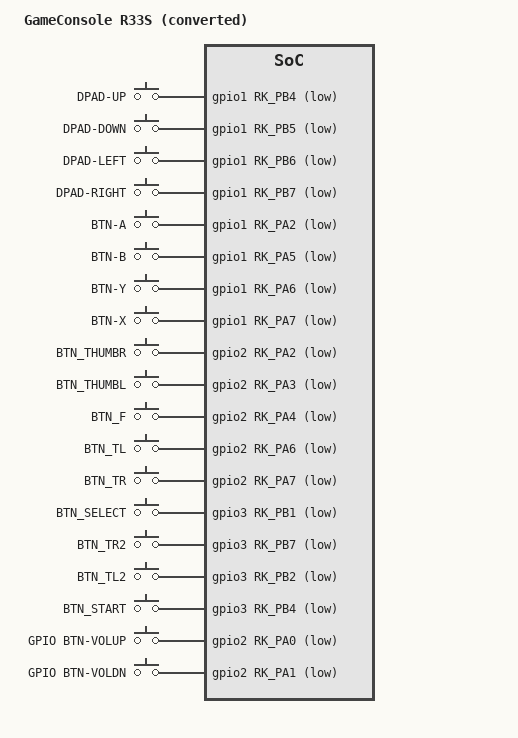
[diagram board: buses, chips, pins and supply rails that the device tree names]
// SPDX-License-Identifier: (GPL-2.0+ OR MIT)
/*
 * GameConsole R33S, converted from a vendor RK3326 device tree by
 * `r36os dtb import` (boot-dtb-select D12). Do not edit: import again.
 * Source: arkos4clone/boot/dArkOS/consoles/r33s/rk3326-r33s-linux.dtb
 * SHA-256: c3ffd29be9d15f1024e4e77b30fe5cf872afc0630c18030adca775674bd356f1
 * Note: speaker gain: source spk-volume 3 ignored, the native safe value is used
 */

#include "rk3326-r36s-v5.dts"

/ {
	model = "GameConsole R33S (converted)";

	lume-select {
		lume,id = "arkos4clone-r33s";
		lume,priority = <0>;
		/delete-property/ lume,default;
		/delete-property/ lume,panel-id;
	};

	/delete-node/ gpio-keys;
	/delete-node/ volume-keys;

	gpio-keys {
		compatible = "gpio-keys";
		pinctrl-names = "default";
		pinctrl-0 = <&btn_pins>;

		button-dpad-up {
			gpios = <&gpio1 RK_PB4 GPIO_ACTIVE_LOW>;
			label = "DPAD-UP";
			linux,code = <0x220>;
		};

		button-dpad-down {
			gpios = <&gpio1 RK_PB5 GPIO_ACTIVE_LOW>;
			label = "DPAD-DOWN";
			linux,code = <0x221>;
		};

		button-dpad-left {
			gpios = <&gpio1 RK_PB6 GPIO_ACTIVE_LOW>;
			label = "DPAD-LEFT";
			linux,code = <0x222>;
		};

		button-dpad-right {
			gpios = <&gpio1 RK_PB7 GPIO_ACTIVE_LOW>;
			label = "DPAD-RIGHT";
			linux,code = <0x223>;
		};

		button-btn-a {
			gpios = <&gpio1 RK_PA2 GPIO_ACTIVE_LOW>;
			label = "BTN-A";
			linux,code = <0x131>;
		};

		button-btn-b {
			gpios = <&gpio1 RK_PA5 GPIO_ACTIVE_LOW>;
			label = "BTN-B";
			linux,code = <0x130>;
		};

		button-btn-y {
			gpios = <&gpio1 RK_PA6 GPIO_ACTIVE_LOW>;
			label = "BTN-Y";
			linux,code = <0x134>;
		};

		button-btn-x {
			gpios = <&gpio1 RK_PA7 GPIO_ACTIVE_LOW>;
			label = "BTN-X";
			linux,code = <0x133>;
		};

		button-btn-thumbr {
			gpios = <&gpio2 RK_PA2 GPIO_ACTIVE_LOW>;
			label = "BTN_THUMBR";
			linux,code = <0x2c2>;
		};

		button-btn-thumbl {
			gpios = <&gpio2 RK_PA3 GPIO_ACTIVE_LOW>;
			label = "BTN_THUMBL";
			linux,code = <0x2c3>;
		};

		button-btn-f {
			gpios = <&gpio2 RK_PA4 GPIO_ACTIVE_LOW>;
			label = "BTN_F";
			linux,code = <0x2c4>;
		};

		button-btn-tl {
			gpios = <&gpio2 RK_PA6 GPIO_ACTIVE_LOW>;
			label = "BTN_TL";
			linux,code = <0x136>;
		};

		button-btn-tr {
			gpios = <&gpio2 RK_PA7 GPIO_ACTIVE_LOW>;
			label = "BTN_TR";
			linux,code = <0x137>;
		};

		button-btn-select {
			gpios = <&gpio3 RK_PB1 GPIO_ACTIVE_LOW>;
			label = "BTN_SELECT";
			linux,code = <0x2c0>;
		};

		button-btn-tr2 {
			gpios = <&gpio3 RK_PB7 GPIO_ACTIVE_LOW>;
			label = "BTN_TR2";
			linux,code = <0x139>;
		};

		button-btn-tl2 {
			gpios = <&gpio3 RK_PB2 GPIO_ACTIVE_LOW>;
			label = "BTN_TL2";
			linux,code = <0x138>;
		};

		button-btn-start {
			gpios = <&gpio3 RK_PB4 GPIO_ACTIVE_LOW>;
			label = "BTN_START";
			linux,code = <0x2c1>;
		};
	};

	volume-keys {
		compatible = "gpio-keys";
		pinctrl-names = "default";
		pinctrl-0 = <&vol_pins>;
		autorepeat;

		button-gpio-btn-volup {
			gpios = <&gpio2 RK_PA0 GPIO_ACTIVE_LOW>;
			label = "GPIO BTN-VOLUP";
			linux,code = <0x73>;
		};

		button-gpio-btn-voldn {
			gpios = <&gpio2 RK_PA1 GPIO_ACTIVE_LOW>;
			label = "GPIO BTN-VOLDN";
			linux,code = <0x72>;
		};
	};

	/delete-node/ adc-joystick;
	/delete-node/ adc-mux;
	/delete-node/ mux-controller;

	/delete-node/ gpio-leds;

	rk817-sound {
		simple-audio-card,hp-det-gpios = <&gpio2 RK_PC6 GPIO_ACTIVE_LOW>;
	};
};

&internal_display {
	compatible = "rocknix,generic-dsi";
	/delete-property/ vcc-supply;
	vdd-supply = <&vcc_lcd>;
	reset-gpios = <&gpio3 RK_PC0 GPIO_ACTIVE_LOW>;
	panel_description =
		"G size=52,70 delays=2,1,20,120,20 format=rgb888 lanes=4 flags=0xe03",
		"M clock=50000 horizontal=640,450,46,450 vertical=480,17,5,13 default=1",
		"I seq=b9f11283",
		"I seq=b1000000da80",
		"I seq=b2001370",
		"I seq=b31010282803ff00000000",
		"I seq=b480",
		"I seq=b50a0a",
		"I seq=b67f7f",
		"I seq=b82662f063",
		"I seq=ba338105f90e0e2000000000000000442500900a0000014f01000037",
		"I seq=bc47",
		"I seq=bf021100",
		"I seq=c0737350500000125000",
		"I seq=c153c0323277e1dddd77773333",
		"I seq=c68200bfff00ff",
		"I seq=c7b8000a000000",
		"I seq=c810401e02",
		"I seq=cc0b",
		"I seq=e000070d37353f4144060c0d0f111012141a00070d37353f4144060c0d0f111012141a",
		"I seq=e307070b0b0b0b00000000ff00c010",
		"I seq=e9c810020000b0b11131232880b0b127080004020000000004020000008888ba60240888888888888888ba713518888888888800000001000000000000000000",
		"I seq=ea970a820203070000000000008188ba17538888888888888088ba0642888888888888230000028000000000000000000000000000000000000000000000",
		"I seq=efffff01",
		"I seq=11 wait=c8",
		"I seq=29 wait=32";
};

&dsi {
	rockchip,lane-rate = <333>;
};

&backlight {
	pwms = <&pwm1 0 40000 0>;
	/delete-property/ num-interpolated-steps;
	brightness-levels = <0 1 2 3 4 5 6 7 8 9 10 11 12 13 14 15 16 17 18 19 20 21 22 23 24 25 26 27 28 29 30 31 32 33 34 35 36 37 38 39 40 41 42 43 44 45 46 47 48 49 50 51 52 53 54 55 56 57 58 59 60 61 62 63 64 65 66 67 68 69 70 71 72 73 74 75 76 77 78 79 80 81 82 83 84 85 86 87 88 89 90 91 92 93 94 95 96 97 98 99 100 101 102 103 104 105 106 107 108 109 110 111 112 113 114 115 116 117 118 119 120 121 122 123 124 125 126 127 128 129 130 131 132 133 134 135 136 137 138 139 140 141 142 143 144 145 146 147 148 149 150 151 152 153 154 155 156 157 158 159 160>;
	default-brightness-level = <80>;
};

&battery {
	charge-full-design-microamp-hours = <3380000>;
	voltage-max-design-microvolt = <4045000>;
	voltage-min-design-microvolt = <3165000>;
	ocv-capacity-table-0 = <4045000 100>,
				<4020000 95>,
				<3990000 90>,
				<3950000 85>,
				<3910000 80>,
				<3870000 75>,
				<3830000 70>,
				<3790000 65>,
				<3750000 60>,
				<3710000 55>,
				<3670000 50>,
				<3630000 45>,
				<3580000 40>,
				<3530000 35>,
				<3480000 30>,
				<3430000 25>,
				<3380000 20>,
				<3330000 15>,
				<3280000 10>,
				<3220000 5>,
				<3165000 0>;
};

&spk_amp {
	/delete-property/ enable-gpios;
	/delete-property/ pinctrl-names;
	/delete-property/ pinctrl-0;
};

&rk817 {
	interrupt-parent = <&gpio0>;
	interrupts = <RK_PB2 IRQ_TYPE_LEVEL_LOW>;
};

&gpio0 {
	/delete-node/ joystick-mux-en-hog;
};

&gpio1 {
	/delete-node/ lcd-enable-hog;
};

&gpio3 {
	/delete-node/ lcd-stbyb-hog;
};

&btn_pins {
	rockchip,pins =
		<1 RK_PB4 RK_FUNC_GPIO &pcfg_pull_up>,
		<1 RK_PB5 RK_FUNC_GPIO &pcfg_pull_up>,
		<1 RK_PB6 RK_FUNC_GPIO &pcfg_pull_up>,
		<1 RK_PB7 RK_FUNC_GPIO &pcfg_pull_up>,
		<1 RK_PA2 RK_FUNC_GPIO &pcfg_pull_up>,
		<1 RK_PA5 RK_FUNC_GPIO &pcfg_pull_up>,
		<1 RK_PA6 RK_FUNC_GPIO &pcfg_pull_up>,
		<1 RK_PA7 RK_FUNC_GPIO &pcfg_pull_up>,
		<2 RK_PA2 RK_FUNC_GPIO &pcfg_pull_up>,
		<2 RK_PA3 RK_FUNC_GPIO &pcfg_pull_up>,
		<2 RK_PA4 RK_FUNC_GPIO &pcfg_pull_up>,
		<2 RK_PA6 RK_FUNC_GPIO &pcfg_pull_up>,
		<2 RK_PA7 RK_FUNC_GPIO &pcfg_pull_up>,
		<3 RK_PB1 RK_FUNC_GPIO &pcfg_pull_up>,
		<3 RK_PB7 RK_FUNC_GPIO &pcfg_pull_up>,
		<3 RK_PB2 RK_FUNC_GPIO &pcfg_pull_up>,
		<3 RK_PB4 RK_FUNC_GPIO &pcfg_pull_up>;
};

&vol_pins {
	rockchip,pins =
		<2 RK_PA0 RK_FUNC_GPIO &pcfg_pull_up>,
		<2 RK_PA1 RK_FUNC_GPIO &pcfg_pull_up>;
};

&hp_det {
	rockchip,pins = <2 RK_PC6 RK_FUNC_GPIO &pcfg_pull_none>;
};

&pmic_int {
	rockchip,pins = <0 RK_PB2 RK_FUNC_GPIO &pcfg_pull_up>;
};
